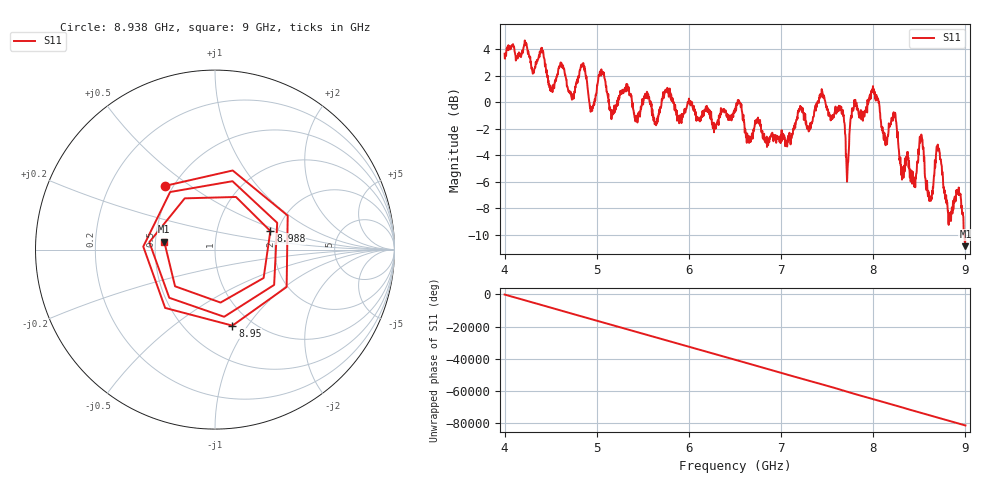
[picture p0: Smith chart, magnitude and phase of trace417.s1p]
! Created with skrf 1.8.0 (http://scikit-rf.org).
# Hz S RI R 50.0
!freq ReS11 ImS11
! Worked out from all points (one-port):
!   1601 points, 4 GHz to 9 GHz, reference 50 ohm
!   lowest |S11| = -10.9 dB at 9 GHz (marker M1), VSWR 1.80, Z = 27.9 + j2.63 ohm
!   |S11| at or under -10 dB: 8.983895 GHz to 8.98423 GHz (335 kHz wide, 0.00373 % of centre); 8.990322 GHz to end of sweep
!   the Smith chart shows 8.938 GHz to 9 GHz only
!   S11 on the Smith chart (normalised r, x): 8.938 GHz: 0.45, +0.40; 8.95 GHz: 0.82, -0.85; 8.988 GHz: 1.83, +0.42; 9 GHz: 0.56, +0.05
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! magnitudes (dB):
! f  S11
! 4 GHz  3.7
! 4.406 GHz  4.1
! 4.512 GHz  1.0
! 4.625 GHz  2.8
! 4.728 GHz  0.3
! 4.85 GHz  2.9
! 4.947 GHz  -0.5
! 5.047 GHz  2.0
! 5.162 GHz  -1.1
! 5.25 GHz  0.5
! 5.875 GHz  -1.0
! 6.5 GHz  -0.5
! 7.125 GHz  -2.4
! 7.444 GHz  0.8
! 7.653 GHz  -0.4
! 7.716 GHz  -6.0
! 7.75 GHz  -1.6
! 8 GHz  0.9
! 8.375 GHz  -3.8
! 8.447 GHz  -6.3
! 8.522 GHz  -2.4
! 8.619 GHz  -7.2
! 8.706 GHz  -3.5
! 8.825 GHz  -9.0
! 8.938 GHz  -6.9
! 8.95 GHz  -7.2
! 8.988 GHz  -9.8
! 9 GHz  -10.9
